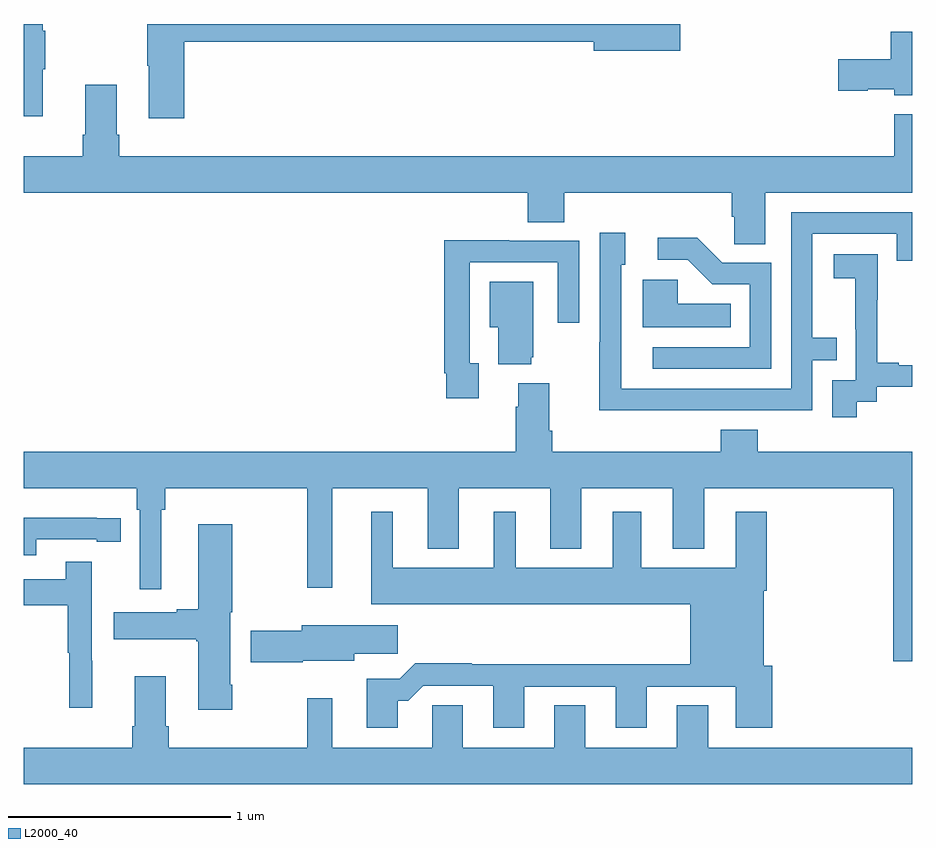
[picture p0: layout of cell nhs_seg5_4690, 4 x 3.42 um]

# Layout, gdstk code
import gdstk
lib = gdstk.Library(unit=1e-6, precision=1e-09)
def P(c, l, *ps):  # polygons
    for p in ps: c.add(gdstk.Polygon(p, *l))
L2000_40 = (2000, 40)

nhs_seg5_4690 = lib.new_cell('nhs_seg5_4690')
P(nhs_seg5_4690, L2000_40, [(385.085,910.595),(385.096,910.595),(385.096,910.769),(385.085,910.769),(385.085,910.799),(385,910.799),(385,910.383),(385.085,910.383)],
  [(385.721,910.72),(387.566,910.72),(387.566,910.678),(387.955,910.678),(387.955,910.799),(385.555,910.799),(385.555,910.612),(385.562,910.612),(385.562,910.374),(385.721,910.374)],
  [(389,910.765),(388.904,910.765),(388.904,910.64),(388.668,910.64),(388.668,910.498),(388.8,910.498),(388.8,910.505),(388.92,910.505),(388.92,910.478),(389,910.478)],
  [(388.339,910.04),(389,910.04),(389,910.393),(388.919,910.393),(388.919,910.204),(385.43,910.204),(385.43,910.3),(385.417,910.3),(385.417,910.525),(385.277,910.525),(385.277,910.3),(385.265,910.3),(385.265,910.204),(385,910.204),(385,910.04),(387.269,910.04),(387.269,909.907),(387.434,909.907),(387.434,910.04),(388.187,910.04),(388.187,909.931),(388.2,909.931),(388.2,909.808),(388.339,909.808)],
  [(388.055,909.06),(388.551,909.06),(388.551,909.285),(388.661,909.285),(388.661,909.386),(388.551,909.386),(388.551,909.855),(388.932,909.855),(388.932,909.732),(389,909.732),(389,909.951),(388.455,909.951),(388.455,909.156),(387.691,909.156),(387.691,909.41),(387.69,909.41),(387.69,909.714),(387.709,909.714),(387.709,909.859),(387.594,909.859),(387.594,909.365),(387.592,909.365),(387.592,909.059),(388.055,909.059)],
  [(388.365,909.723),(388.146,909.723),(388.033,909.836),(387.855,909.836),(387.855,909.738),(387.989,909.738),(388.1,909.627),(388.269,909.627),(388.269,909.342),(387.831,909.342),(387.831,909.246),(388.365,909.246)],
  [(387.049,909.27),(387.009,909.27),(387.009,909.726),(387.405,909.726),(387.405,909.453),(387.501,909.453),(387.501,909.822),(387.185,909.822),(387.185,909.824),(386.893,909.824),(386.893,909.226),(386.901,909.226),(386.901,909.114),(387.049,909.114)],
  [(388.75,909.097),(388.842,909.097),(388.842,909.165),(389,909.165),(389,909.261),(388.939,909.261),(388.939,909.274),(388.844,909.274),(388.844,909.557),(388.845,909.557),(388.845,909.763),(388.647,909.763),(388.647,909.653),(388.745,909.653),(388.745,909.425),(388.746,909.425),(388.746,909.195),(388.641,909.195),(388.641,909.027),(388.75,909.027)],
  [(388.184,909.538),(387.945,909.538),(387.945,909.646),(387.788,909.646),(387.788,909.434),(388.184,909.434)],
  [(387.284,909.297),(387.295,909.297),(387.295,909.637),(387.098,909.637),(387.098,909.434),(387.137,909.434),(387.137,909.266),(387.284,909.266)],
  [(389,908.872),(388.304,908.872),(388.304,908.971),(388.139,908.971),(388.139,908.872),(387.38,908.872),(387.38,908.968),(387.367,908.968),(387.367,909.181),(387.227,909.181),(387.227,909.074),(387.215,909.074),(387.215,908.872),(385,908.872),(385,908.708),(385.508,908.708),(385.508,908.612),(385.521,908.612),(385.521,908.253),(385.618,908.253),(385.618,908.612),(385.637,908.612),(385.637,908.708),(386.275,908.708),(386.275,908.259),(386.389,908.259),(386.389,908.708),(386.819,908.708),(386.819,908.435),(386.959,908.435),(386.959,908.708),(387.371,908.708),(387.371,908.435),(387.511,908.435),(387.511,908.708),(387.923,908.708),(387.923,908.435),(388.063,908.435),(388.063,908.708),(388.916,908.708),(388.916,907.929),(389,907.929)],
  [(386.683,907.751),(386.732,907.751),(386.799,907.818),(387.113,907.818),(387.113,907.629),(387.253,907.629),(387.253,907.815),(387.665,907.815),(387.665,907.629),(387.805,907.629),(387.805,907.815),(388.205,907.815),(388.205,907.629),(388.37,907.629),(388.37,907.908),(388.333,907.908),(388.333,908.246),(388.346,908.246),(388.346,908.602),(388.205,908.602),(388.205,908.35),(387.781,908.35),(387.781,908.602),(387.653,908.602),(387.653,908.35),(387.214,908.35),(387.214,908.602),(387.116,908.602),(387.116,908.35),(386.662,908.35),(386.662,908.602),(386.564,908.602),(386.564,908.186),(388.001,908.186),(388.001,907.916),(387.017,907.916),(387.017,907.919),(386.762,907.919),(386.692,907.849),(386.543,907.849),(386.543,907.629),(386.683,907.629)],
  [(385.056,908.478),(385.328,908.478),(385.328,908.466),(385.436,908.466),(385.436,908.574),(385.328,908.574),(385.328,908.575),(385,908.575),(385,908.406),(385.056,908.406)],
  [(385.938,907.822),(385.93,907.822),(385.93,908.149),(385.938,908.149),(385.938,908.545),(385.784,908.545),(385.784,908.162),(385.688,908.162),(385.688,908.149),(385.404,908.149),(385.404,908.027),(385.777,908.027),(385.777,908.02),(385.784,908.02),(385.784,907.71),(385.938,907.71)],
  [(385.307,907.931),(385.305,907.931),(385.305,908.377),(385.189,908.377),(385.189,908.298),(385,908.298),(385,908.182),(385.197,908.182),(385.197,907.968),(385.204,907.968),(385.204,907.719),(385.307,907.719)],
  [(386.256,907.931),(386.488,907.931),(386.488,907.963),(386.683,907.963),(386.683,908.092),(386.252,908.092),(386.252,908.066),(386.022,908.066),(386.022,907.924),(386.256,907.924)],
  [(389,907.54),(388.081,907.54),(388.081,907.73),(387.941,907.73),(387.941,907.54),(387.529,907.54),(387.529,907.73),(387.389,907.73),(387.389,907.54),(386.977,907.54),(386.977,907.73),(386.838,907.73),(386.838,907.54),(386.389,907.54),(386.389,907.762),(386.275,907.762),(386.275,907.54),(385.652,907.54),(385.652,907.636),(385.639,907.636),(385.639,907.861),(385.499,907.861),(385.499,907.636),(385.487,907.636),(385.487,907.54),(385,907.54),(385,907.376),(389,907.376)])

lib.write_gds('nhs_seg5_4690.gds')
